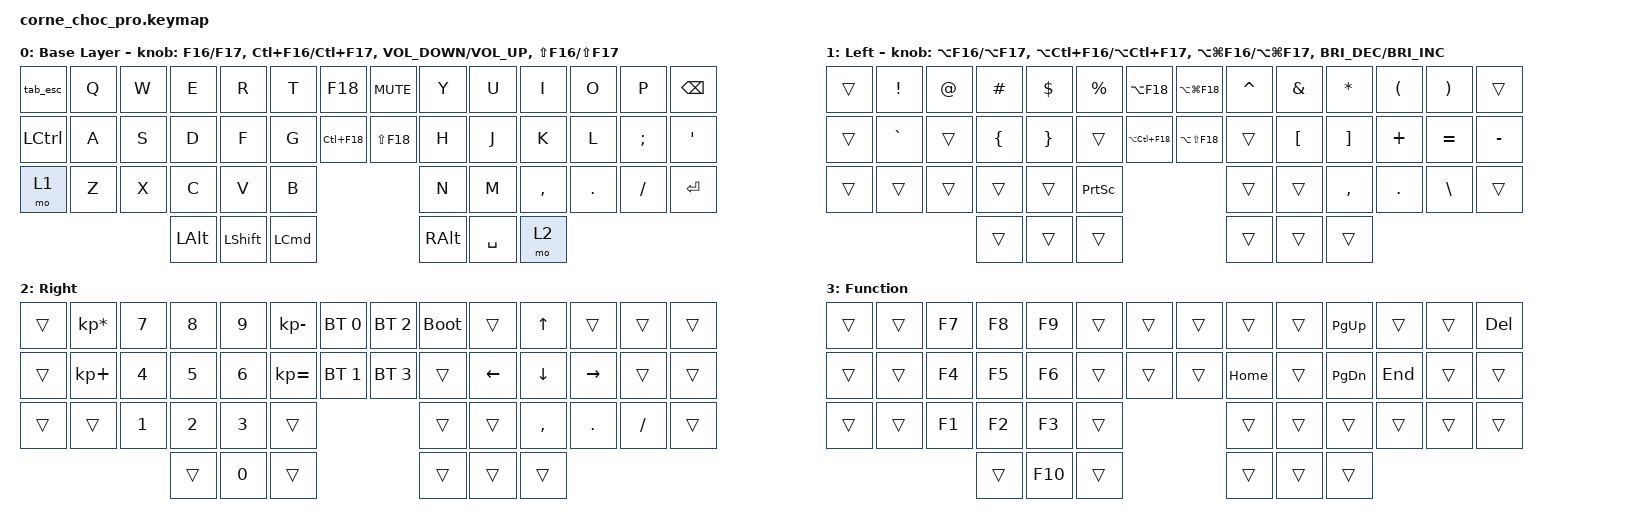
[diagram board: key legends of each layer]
/*
 * Copyright (c) 2020 The ZMK Contributors
 *
 * SPDX-License-Identifier: MIT
 */

#include <behaviors.dtsi>
#include <dt-bindings/zmk/bt.h>
#include <dt-bindings/zmk/keys.h>
#include <dt-bindings/zmk/rgb.h>

/ {
    chosen { zmk,physical-layout = &default_layout; };
};

/ {
    combos {
        compatible = "zmk,combos";

        BOOT_MODE {
            bindings = <&bootloader>;
            key-positions = <40 41 42 43 44 45>;
        };

        bluetooth-clear {
            bindings = <&bt BT_CLR>;
            key-positions = <0 28 13 39>;
        };

        lights-off {
            bindings = <&rgb_ug RGB_OFF>;
            key-positions = <20 6 7 21>;
        };
    };

    behaviors {
        tab_esc: tab_esc {
            compatible = "zmk,behavior-mod-morph";
            label = "TAB_ESC";
            bindings = <&kp TAB>, <&kp ESCAPE>;

            #binding-cells = <0>;
            mods = <(MOD_LALT)>;
        };
    };

    keymap {
        compatible = "zmk,keymap";

        Base {
            display-name = "Base Layer";

            // --------------------------------------------------------------------------------
            // | TAB / ESC |  Q  |  W  |  E  |  R  |  T  |  MUTE |  PP   |  Y  |  U   |  I  |  O  |  P  | BSPC |
            // | L_CTRL    |  A  |  S  |  D  |  F  |  G  |  LALT |  RALT |  H  |  J   |  K  |  L  |  ;  |  '   |
            // | LAYER_1   |  Z  |  X  |  C  |  V  |  B  |               |  N  |  M   |  ,  |  .  |  /  | RETURN  |
            //                 | L_ALT | SHIFT | CMD |               | R_ALT | SPACE  | LAYER_2 |

            bindings = <
&tab_esc   &kp Q  &kp W  &kp E         &kp R           &kp T             &kp F18      &kp C_MUTE   &kp Y          &kp U      &kp I      &kp O    &kp P     &kp BSPC
&kp LCTRL  &kp A  &kp S  &kp D         &kp F           &kp G             &kp LC(F18)  &kp LS(F18)  &kp H          &kp J      &kp K      &kp L    &kp SEMI  &kp SQT
&mo 1      &kp Z  &kp X  &kp C         &kp V           &kp B                                       &kp N          &kp M      &kp COMMA  &kp DOT  &kp FSLH  &kp ENTER
                         &kp LEFT_ALT  &kp LEFT_SHIFT  &kp LEFT_COMMAND                            &kp RIGHT_ALT  &kp SPACE  &mo 2
            >;

            sensor-bindings =
                <&inc_dec_kp F16 F17>,
                <&inc_dec_kp LC(F16) LC(F17)>,
                <&inc_dec_kp C_VOLUME_DOWN C_VOLUME_UP>,
                <&inc_dec_kp LS(F16) LS(F17)>;
        };

        Left {
            bindings = <
&trans  &kp EXCLAMATION  &kp AT_SIGN  &kp HASH        &kp DOLLAR       &kp PERCENT      &kp LA(F18)      &kp LA(LG(F18))  &kp CARET  &kp AMPERSAND     &kp ASTERISK       &kp LEFT_PARENTHESIS  &kp RIGHT_PARENTHESIS  &trans
&trans  &kp GRAVE        &trans       &kp LEFT_BRACE  &kp RIGHT_BRACE  &trans           &kp LA(LC(F18))  &kp LA(LS(F18))  &trans     &kp LEFT_BRACKET  &kp RIGHT_BRACKET  &kp PLUS              &kp EQUAL              &kp MINUS
&trans  &trans           &trans       &trans          &trans           &kp PRINTSCREEN                                    &trans     &trans            &kp COMMA          &kp PERIOD            &kp BACKSLASH          &trans
                                      &trans          &trans           &trans                                             &trans     &trans            &trans
            >;

            sensor-bindings =
                <&inc_dec_kp LA(F16) LA(F17)>,
                <&inc_dec_kp LA(LC(F16)) LA(LC(F17))>,
                <&inc_dec_kp LA(LG(F16)) LA(LG(F17))>,
                <&inc_dec_kp C_BRIGHTNESS_DEC C_BRIGHTNESS_INC>;
        };

        Right {
            bindings = <
&trans  &kp KP_MULTIPLY  &kp NUMBER_7  &kp NUMBER_8  &kp NUMBER_9  &kp KP_MINUS  &bt BT_SEL 0  &bt BT_SEL 2  &bootloader  &trans    &kp UP_ARROW  &trans      &trans     &trans
&trans  &kp KP_PLUS      &kp NUMBER_4  &kp NUMBER_5  &kp NUMBER_6  &kp KP_EQUAL  &bt BT_SEL 1  &bt BT_SEL 3  &trans       &kp LEFT  &kp DOWN      &kp RIGHT   &trans     &trans
&trans  &trans           &kp NUMBER_1  &kp NUMBER_2  &kp NUMBER_3  &trans                                    &trans       &trans    &kp COMMA     &kp PERIOD  &kp SLASH  &trans
                                       &trans        &kp NUMBER_0  &trans                                    &trans       &trans    &trans
            >;
        };

        Function {
            bindings = <
&trans  &trans  &kp F7  &kp F8  &kp F9   &trans  &trans  &trans  &trans    &trans  &kp PAGE_UP    &trans   &trans  &kp DELETE
&trans  &trans  &kp F4  &kp F5  &kp F6   &trans  &trans  &trans  &kp HOME  &trans  &kp PAGE_DOWN  &kp END  &trans  &trans
&trans  &trans  &kp F1  &kp F2  &kp F3   &trans                  &trans    &trans  &trans         &trans   &trans  &trans
                        &trans  &kp F10  &trans                  &trans    &trans  &trans
            >;
        };
    };

    conditional_layers {
        compatible = "zmk,conditional-layers";

        switch-to-fn {
            if-layers = <1 2>;
            then-layer = <3>;
        };
    };
};
